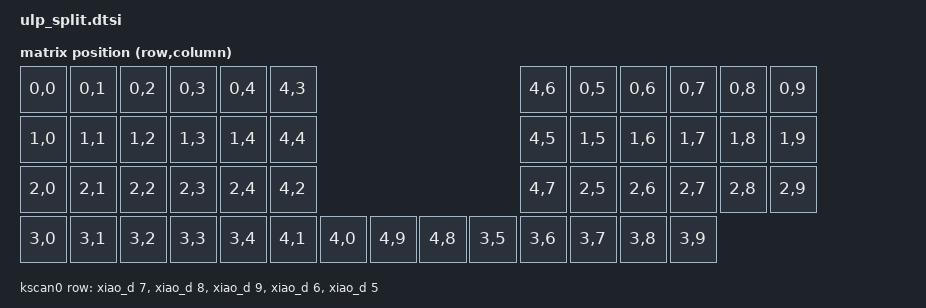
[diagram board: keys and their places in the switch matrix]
/*
 * Matrix (see pcb/config.yaml), col2row: diodes point from column to row. 5 x 5 on D0..D9,
 * D10 and the NFC pads stay free for a trackpad.
 *   columns D0..D4 = outer, pinky, ring, middle, index
 *   rows    D7 top, D8 home, D9 bottom, D6 lower, D5 extra
 *   lower   outer 4 columns + near thumb (index column)
 *   extra   inner top/home/bottom (middle/index/ring column), mid thumb (pinky), far thumb (outer)
 * The right half lists its columns index..outer so columns 5..9 run left to right.
 */

#include <dt-bindings/zmk/matrix_transform.h>
#include "ulp_split-layouts.dtsi"

&ulp_split_layout {
    transform = <&default_transform>;
};

/ {
    chosen {
        zmk,kscan = &kscan0;
        zmk,physical-layout = &ulp_split_layout;
    };

    default_transform: keymap_transform_0 {
        compatible = "zmk,matrix-transform";
        columns = <10>;
        rows = <5>;
        map = <
RC(0,0) RC(0,1) RC(0,2) RC(0,3) RC(0,4) RC(4,3)                                    RC(4,6) RC(0,5) RC(0,6) RC(0,7) RC(0,8) RC(0,9)
RC(1,0) RC(1,1) RC(1,2) RC(1,3) RC(1,4) RC(4,4)                                    RC(4,5) RC(1,5) RC(1,6) RC(1,7) RC(1,8) RC(1,9)
RC(2,0) RC(2,1) RC(2,2) RC(2,3) RC(2,4) RC(4,2)                                    RC(4,7) RC(2,5) RC(2,6) RC(2,7) RC(2,8) RC(2,9)
RC(3,0) RC(3,1) RC(3,2) RC(3,3) RC(3,4) RC(4,1) RC(4,0)    RC(4,9) RC(4,8) RC(3,5) RC(3,6) RC(3,7) RC(3,8) RC(3,9)
        >;
    };

    kscan0: kscan {
        compatible = "zmk,kscan-gpio-matrix";
        wakeup-source;
        diode-direction = "col2row";

        row-gpios
            = <&xiao_d 7 (GPIO_ACTIVE_HIGH | GPIO_PULL_DOWN)>
            , <&xiao_d 8 (GPIO_ACTIVE_HIGH | GPIO_PULL_DOWN)>
            , <&xiao_d 9 (GPIO_ACTIVE_HIGH | GPIO_PULL_DOWN)>
            , <&xiao_d 6 (GPIO_ACTIVE_HIGH | GPIO_PULL_DOWN)>
            , <&xiao_d 5 (GPIO_ACTIVE_HIGH | GPIO_PULL_DOWN)>
            ;
    };
};

/*
 * Trackpad on the right half (see ulp_split_right.overlay). The input split proxies it to the central,
 * whose listener (enabled in ulp_split_left.overlay) turns it into mouse reports. Defined here so the
 * keymap can reference &trackpad_listener (e.g. for input processors) on both halves.
 */
/ {
    split_inputs {
        #address-cells = <1>;
        #size-cells = <0>;

        trackpad_split: trackpad_split@0 {
            compatible = "zmk,input-split";
            reg = <0>;
        };
    };

    trackpad_listener: trackpad_listener {
        compatible = "zmk,input-listener";
        status = "disabled";
        device = <&trackpad_split>;
    };
};
